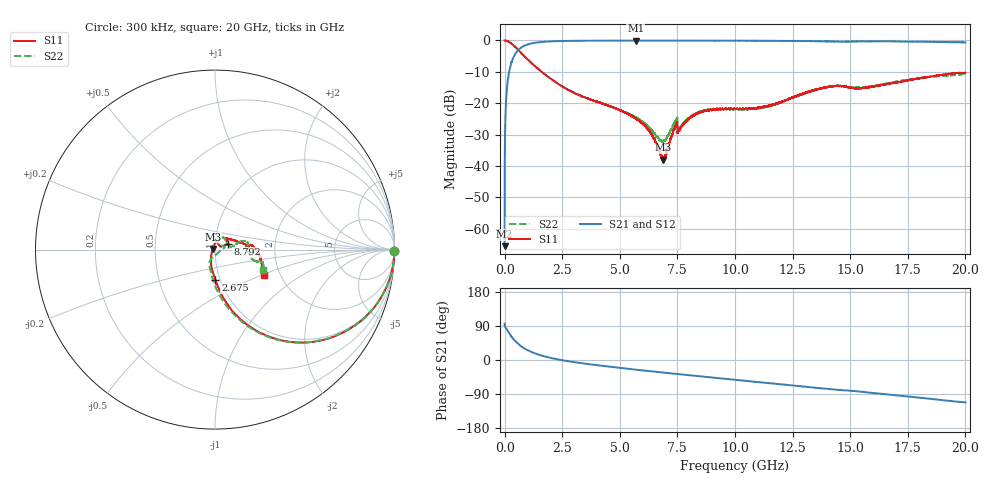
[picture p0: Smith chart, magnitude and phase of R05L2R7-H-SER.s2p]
!{R05L2R7}
!Johanson Technology Inc.
!www.johansontechnology.com
!Test Board Conditions:
!Substrate Type  RO4350B
!Substrate Thickness  10 mil
!Substrate Dk  3.66
!TL Type: GCPW
!TL Trace Width  22 mil
!TL Gap  25 mil
!Electrode orientation  Horizontal
!DUT TOPOLOGY	SERIES
!Mounting Pad LxW  11x14.5 mil
! Created Wed Nov 25 17:33:21 2020
! 2 Port Network Data from SP1.SP block
! freq  magS11  angS11  magS21  angS21  magS12  angS12  magS22  angS22
# khz S ma R 50
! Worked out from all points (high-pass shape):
!   20001 points, 300 kHz to 20 GHz, reference 50 ohm
!   highest |S21| = -0.03 dB at 5.694 GHz (marker M1); lowest = -65.6 dB at 300 kHz (marker M2)
!   |S21| within 3 dB of the highest: 595.6 MHz to end of sweep
!   lowest |S11| = -38.0 dB at 6.891 GHz (marker M3), VSWR 1.03, Z = 48.8 + j0.327 ohm
!   |S11| at or under -10 dB: 1.607 GHz to end of sweep
!   |S22| runs from -32.5 to 0.0 dB; largest |S21 - S12| = 0.015
!   S11 on the Smith chart (normalised r, x): 300 kHz: open; 2.675 GHz: 0.95, -0.33; 8.792 GHz: 1.15, +0.07; 20 GHz: 1.65, -0.51
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300  0.9994 -0.5  0.0005241 96.0  0.0004734 93.6  1 -0.5
101300  0.9845 -10.3  0.1704 79.6  0.1711 79.6  0.985 -10.3
117300  0.9794 -11.9  0.1964 78.0  0.197 78.0  0.9801 -11.8
210300  0.9399 -20.8  0.3379 69.0  0.3388 69.0  0.9391 -20.7
368300  0.8477 -33.1  0.5211 56.4  0.5223 56.4  0.8475 -33.1
744300  0.6183 -54.4  0.7819 35.1  0.7813 35.1  0.6177 -54.7
1160300  0.438 -68.0  0.8947 21.3  0.894 21.3  0.4396 -68.7
2675300  0.1694 -89.1  0.9827 -2.3  0.9827 -2.3  0.1705 -93.7
3334300  0.1297 -94.7  0.9881 -8.3  0.9883 -8.4  0.13 -100.0
5694300  0.05749 -113.3  0.9963 -25.5  0.9947 -25.4  0.0595 -112.8
6289300  0.03569 -125.2  0.9942 -29.4  0.9952 -29.4  0.04016 -101.6
6667300  0.0191 -148.8  0.9941 -31.8  0.994 -31.8  0.02757 -75.9
6891300  0.01253 164.5  0.9935 -33.2  0.9932 -33.2  0.02545 -47.5
7399300  0.04103 84.2  0.9924 -36.4  0.9918 -36.4  0.0501 9.8
7600300  0.0381 27.7  0.9949 -37.6  0.9941 -37.6  0.04056 66.6
8117300  0.06045 23.8  0.9935 -40.8  0.9922 -40.7  0.06243 68.8
8792300  0.07665 23.8  0.9917 -44.9  0.9915 -44.9  0.07776 61.6
1.00003e7  0.08118 39.1  0.9907 -52.2  0.9905 -52.1  0.08065 34.1
1.14283e7  0.09086 41.8  0.9868 -60.9  0.9886 -60.8  0.08959 8.5
1.33343e7  0.1585 12.7  0.9756 -72.1  0.9767 -72.2  0.1559 17.3
1.66673e7  0.2035 6.8  0.9699 -91.3  0.9596 -91.0  0.2082 -13.1
2e7  0.3056 -27.5  0.9313 -111.9  0.9235 -111.8  0.2918 -22.9
